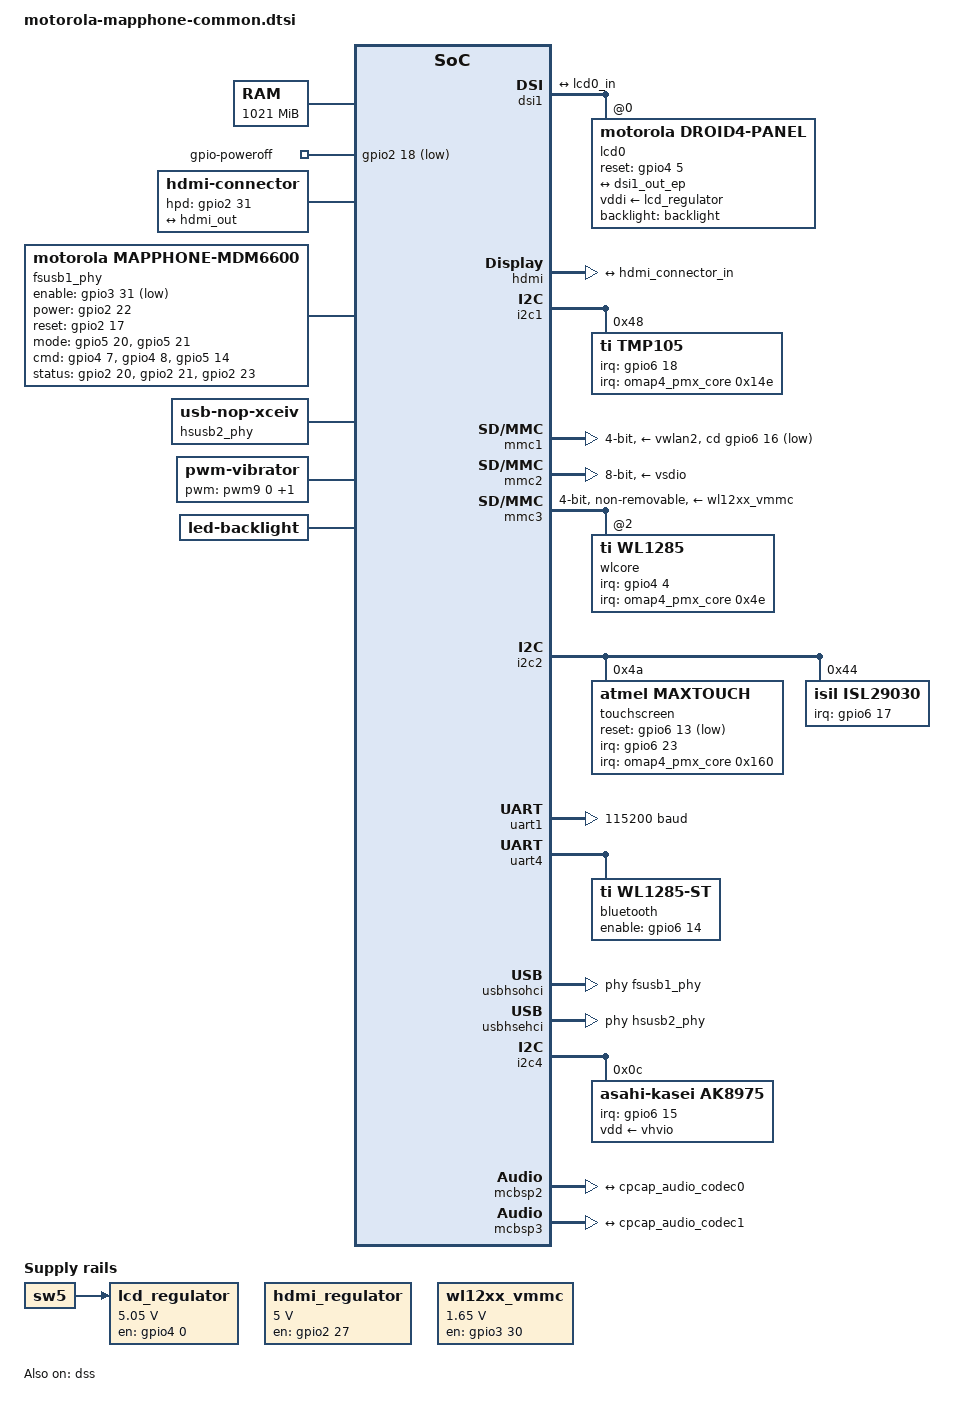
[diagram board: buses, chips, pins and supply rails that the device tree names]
// SPDX-License-Identifier: GPL-2.0-only
/dts-v1/;

#include <dt-bindings/input/input.h>
#include "omap443x.dtsi"
#include "motorola-cpcap-mapphone.dtsi"

/ {
	chosen {
		stdout-path = &uart3;
	};

	aliases {
		display0 = &lcd0;
		display1 = &hdmi0;
	};

	/*
	 * We seem to have only 1021 MB accessible, 1021 - 1022 is locked,
	 * then 1023 - 1024 seems to contain mbm.
	 */
	memory {
		device_type = "memory";
		reg = <0x80000000 0x3fd00000>;	/* 1021 MB */
	};

	/* Poweroff GPIO probably connected to CPCAP */
	gpio-poweroff {
		compatible = "gpio-poweroff";
		pinctrl-0 = <&poweroff_gpio>;
		pinctrl-names = "default";
		gpios = <&gpio2 18 GPIO_ACTIVE_LOW>;	/* gpio50 */
	};

	hdmi0: connector {
		compatible = "hdmi-connector";
		pinctrl-0 = <&hdmi_hpd_gpio>;
		pinctrl-names = "default";
		label = "hdmi";
		type = "d";

		hpd-gpios = <&gpio2 31 GPIO_ACTIVE_HIGH>;	/* gpio63 */

		port {
			hdmi_connector_in: endpoint {
				remote-endpoint = <&hdmi_out>;
			};
		};
	};

	/*
	 * HDMI 5V regulator probably sourced from battery. Let's keep
	 * keep this as always enabled for HDMI to work until we've
	 * figured what the encoder chip is.
	 */
	hdmi_regulator: regulator-hdmi {
		compatible = "regulator-fixed";
		regulator-name = "hdmi";
		regulator-min-microvolt = <5000000>;
		regulator-max-microvolt = <5000000>;
		gpio = <&gpio2 27 GPIO_ACTIVE_HIGH>;	/* gpio59 */
		enable-active-high;
		regulator-always-on;
	};

	/* FS USB Host PHY on port 1 for mdm6600 */
	fsusb1_phy: usb-phy@1 {
		compatible = "motorola,mapphone-mdm6600";
		pinctrl-0 = <&usb_mdm6600_pins>;
		pinctrl-names = "default";
		enable-gpios = <&gpio3 31 GPIO_ACTIVE_LOW>;     /* gpio_95 */
		power-gpios = <&gpio2 22 GPIO_ACTIVE_HIGH>;	/* gpio_54 */
		reset-gpios = <&gpio2 17 GPIO_ACTIVE_HIGH>;	/* gpio_49 */
		/* mode: gpio_148 gpio_149 */
		motorola,mode-gpios = <&gpio5 20 GPIO_ACTIVE_HIGH>,
				      <&gpio5 21 GPIO_ACTIVE_HIGH>;
		/* cmd: gpio_103 gpio_104 gpio_142 */
		motorola,cmd-gpios = <&gpio4 7 GPIO_ACTIVE_HIGH>,
				     <&gpio4 8 GPIO_ACTIVE_HIGH>,
				     <&gpio5 14 GPIO_ACTIVE_HIGH>;
		/* status: gpio_52 gpio_53 gpio_55 */
		motorola,status-gpios = <&gpio2 20 GPIO_ACTIVE_HIGH>,
					<&gpio2 21 GPIO_ACTIVE_HIGH>,
					<&gpio2 23 GPIO_ACTIVE_HIGH>;
		#phy-cells = <0>;
	};

	/* HS USB host TLL nop-phy on port 2 for w3glte */
	hsusb2_phy: usb-phy@2 {
		compatible = "usb-nop-xceiv";
		#phy-cells = <0>;
	};

	/* LCD regulator from sw5 source */
	lcd_regulator: regulator-lcd {
		compatible = "regulator-fixed";
		regulator-name = "lcd";
		regulator-min-microvolt = <5050000>;
		regulator-max-microvolt = <5050000>;
		gpio = <&gpio4 0 GPIO_ACTIVE_HIGH>;	/* gpio96 */
		enable-active-high;
		vin-supply = <&sw5>;
	};

	/* This is probably coming straight from the battery.. */
	wl12xx_vmmc: regulator-wl12xx {
		compatible = "regulator-fixed";
		regulator-name = "vwl1271";
		regulator-min-microvolt = <1650000>;
		regulator-max-microvolt = <1650000>;
		gpio = <&gpio3 30 GPIO_ACTIVE_HIGH>;	/* gpio94 */
		startup-delay-us = <70000>;
		enable-active-high;
	};

	soundcard {
		compatible = "audio-graph-card";
		label = "Mapphone Audio";

		widgets =
			"Speaker", "Earpiece",
			"Speaker", "Loudspeaker",
			"Headphone", "Headphone Jack",
			"Microphone", "Internal Mic";

		routing =
			"Earpiece", "EP",
			"Loudspeaker", "SPKR",
			"Headphone Jack", "HSL",
			"Headphone Jack", "HSR",
			"MICR", "Internal Mic";

		dais = <&mcbsp2_port>, <&mcbsp3_port>;
	};

	pwm8: pwm-8 {
		pinctrl-names = "default";
		pinctrl-0 = <&vibrator_direction_pin>;

		compatible = "ti,omap-dmtimer-pwm";
		#pwm-cells = <3>;
		ti,timers = <&timer8>;
		ti,clock-source = <0x01>;
	};

	pwm9: pwm-9 {
		pinctrl-names = "default";
		pinctrl-0 = <&vibrator_enable_pin>;

		compatible = "ti,omap-dmtimer-pwm";
		#pwm-cells = <3>;
		ti,timers = <&timer9>;
		ti,clock-source = <0x01>;
	};

	vibrator {
		compatible = "pwm-vibrator";
		pwms = <&pwm9 0 10000000 0>, <&pwm8 0 10000000 0>;
		pwm-names = "enable", "direction";
		direction-duty-cycle-ns = <10000000>;
	};

	backlight: backlight {
		compatible = "led-backlight";

		leds = <&backlight_led>;
		brightness-levels = <31 63 95 127 159 191 223 255>;
		default-brightness-level = <6>;
	};
};

&cpu_thermal {
	polling-delay = <10000>; /* milliseconds */
};

&cpu_alert0 {
        temperature = <80000>; /* millicelsius */
};

&cpu0 {
        /*
	 * Note that the 1.2GiHz mode is enabled for all SoC variants for
	 * the Motorola Android Linux v3.0.8 based kernel.
	 */
        operating-points = <
	        /* kHz    uV */
	        300000  1025000
	        600000  1200000
	        800000  1313000
	        1008000 1375000
		1200000 1375000
        >;
};

&dss {
	status = "okay";
};

&dsi1 {
	status = "okay";
	vdd-supply = <&vcsi>;

	port {
		dsi1_out_ep: endpoint {
			remote-endpoint = <&lcd0_in>;
			lanes = <0 1 2 3 4 5>;
		};
	};

	lcd0: panel@0 {
		compatible = "motorola,droid4-panel", "panel-dsi-cm";
		reg = <0>;
		label = "lcd0";
		vddi-supply = <&lcd_regulator>;
		reset-gpios = <&gpio4 5 GPIO_ACTIVE_HIGH>;	/* gpio101 */

		backlight = <&backlight>;

		width-mm = <50>;
		height-mm = <89>;
		rotation = <90>;

		panel-timing {
			clock-frequency = <0>;		/* Calculated by dsi */

			hback-porch = <2>;
			hactive = <540>;
			hfront-porch = <0>;
			hsync-len = <2>;

			vback-porch = <1>;
			vactive = <960>;
			vfront-porch = <0>;
			vsync-len = <1>;

			hsync-active = <0>;
			vsync-active = <0>;
			de-active = <1>;
			pixelclk-active = <1>;
		};

		port {
			lcd0_in: endpoint {
				remote-endpoint = <&dsi1_out_ep>;
			};
		};
	};
};

&hdmi {
	status = "okay";
	pinctrl-0 = <&dss_hdmi_pins>;
	pinctrl-names = "default";
	vdda-supply = <&vdac>;

	port {
		hdmi_out: endpoint {
			remote-endpoint = <&hdmi_connector_in>;
			lanes = <1 0 3 2 5 4 7 6>;
		};
	};
};

/* Battery NVRAM on 1-wire handled by w1_ds250x driver */
&hdqw1w {
	pinctrl-0 = <&hdq_pins>;
	pinctrl-names = "default";
	ti,mode = "1w";
};

&i2c1 {
	tmp105@48 {
		compatible = "ti,tmp105";
		reg = <0x48>;
		pinctrl-0 = <&tmp105_irq>;
		pinctrl-names = "default";
		/* kpd_row0.gpio_178 */
		interrupts-extended = <&gpio6 18 IRQ_TYPE_EDGE_FALLING
				       &omap4_pmx_core 0x14e>;
		interrupt-names = "irq", "wakeup";
		wakeup-source;
	};
};

&mmc1 {
	vmmc-supply = <&vwlan2>;
	bus-width = <4>;
	cd-gpios = <&gpio6 16 GPIO_ACTIVE_LOW>;	/* gpio176 */
};

&mmc2 {
	vmmc-supply = <&vsdio>;
	bus-width = <8>;
	ti,non-removable;
};

&mmc3 {
	pinctrl-names = "default";
	pinctrl-0 = <&mmc3_pins>;
	vmmc-supply = <&wl12xx_vmmc>;
	/* uart2_tx.sdmmc3_dat1 pad as wakeirq */
	interrupts-extended = <&wakeupgen GIC_SPI 94 IRQ_TYPE_LEVEL_HIGH
			       &omap4_pmx_core 0xde>;
	interrupt-names = "irq", "wakeup";
	non-removable;
	bus-width = <4>;
	cap-power-off-card;
	keep-power-in-suspend;

	#address-cells = <1>;
	#size-cells = <0>;
	wlcore: wlcore@2 {
		compatible = "ti,wl1285";
		reg = <2>;
		/* gpio_100 with gpmc_wait2 pad as wakeirq */
		interrupts-extended = <&gpio4 4 IRQ_TYPE_LEVEL_HIGH>,
				      <&omap4_pmx_core 0x4e>;
		interrupt-names = "irq", "wakeup";
		ref-clock-frequency = <26000000>;
		tcxo-clock-frequency = <26000000>;
	};
};

&i2c2 {
	touchscreen@4a {
		compatible = "atmel,maxtouch";
		reg = <0x4a>;
		pinctrl-names = "default";
		pinctrl-0 = <&touchscreen_pins>;

		reset-gpios = <&gpio6 13 GPIO_ACTIVE_LOW>; /* gpio173 */

		/* gpio_183 with sys_nirq2 pad as wakeup */
		interrupts-extended = <&gpio6 23 IRQ_TYPE_LEVEL_LOW>,
				      <&omap4_pmx_core 0x160>;
		interrupt-names = "irq", "wakeup";
		wakeup-source;
	};

	isl29030@44 {
		compatible = "isil,isl29030";
		reg = <0x44>;

		pinctrl-names = "default";
		pinctrl-0 = <&als_proximity_pins>;

		interrupt-parent = <&gpio6>;
		interrupts = <17 IRQ_TYPE_LEVEL_LOW>; /* gpio177 */
	};
};

&omap4_pmx_core {

	/* hdmi_hpd.gpio_63 */
	hdmi_hpd_gpio: hdmi-hpd-pins {
		pinctrl-single,pins = <
		OMAP4_IOPAD(0x098, PIN_INPUT | MUX_MODE3)
		>;
	};

	hdq_pins: hdq-pins {
		pinctrl-single,pins = <
		/* 0x4a100120 hdq_sio.hdq_sio aa27 */
		OMAP4_IOPAD(0x120, PIN_INPUT | MUX_MODE0)
		>;
	};

	/* hdmi_cec.hdmi_cec, hdmi_scl.hdmi_scl, hdmi_sda.hdmi_sda */
	dss_hdmi_pins: dss-hdmi-pins {
		pinctrl-single,pins = <
		OMAP4_IOPAD(0x09a, PIN_INPUT | MUX_MODE0)
		OMAP4_IOPAD(0x09c, PIN_INPUT | MUX_MODE0)
		OMAP4_IOPAD(0x09e, PIN_INPUT | MUX_MODE0)
		>;
	};

	/*
	 * Android uses PIN_OFF_INPUT_PULLDOWN | PIN_INPUT_PULLUP | MUX_MODE3
	 * for gpio_100, but the internal pull makes wlan flakey on some
	 * devices. Off mode value should be tested if we have off mode working
	 * later on.
	 */
	mmc3_pins: mmc3-pins {
		pinctrl-single,pins = <
		/* 0x4a10008e gpmc_wait2.gpio_100 d23 */
		OMAP4_IOPAD(0x08e, PIN_INPUT | MUX_MODE3)

		/* 0x4a100102 abe_mcbsp1_dx.sdmmc3_dat2 ab25 */
		OMAP4_IOPAD(0x102, PIN_INPUT_PULLUP | MUX_MODE1)

		/* 0x4a100104 abe_mcbsp1_fsx.sdmmc3_dat3 ac27 */
		OMAP4_IOPAD(0x104, PIN_INPUT_PULLUP | MUX_MODE1)

		/* 0x4a100118 uart2_cts.sdmmc3_clk ab26 */
		OMAP4_IOPAD(0x118, PIN_INPUT | MUX_MODE1)

		/* 0x4a10011a uart2_rts.sdmmc3_cmd ab27 */
		OMAP4_IOPAD(0x11a, PIN_INPUT_PULLUP | MUX_MODE1)

		/* 0x4a10011c uart2_rx.sdmmc3_dat0 aa25 */
		OMAP4_IOPAD(0x11c, PIN_INPUT_PULLUP | MUX_MODE1)

		/* 0x4a10011e uart2_tx.sdmmc3_dat1 aa26 */
		OMAP4_IOPAD(0x11e, PIN_INPUT_PULLUP | MUX_MODE1)
		>;
	};

	/* gpmc_ncs0.gpio_50 */
	poweroff_gpio: poweroff-pins {
		pinctrl-single,pins = <
		OMAP4_IOPAD(0x074, PIN_OUTPUT_PULLUP | MUX_MODE3)
		>;
	};

	/* kpd_row0.gpio_178 */
	tmp105_irq: tmp105-irq-pins {
		pinctrl-single,pins = <
		OMAP4_IOPAD(0x18e, PIN_INPUT_PULLUP | MUX_MODE3)
		>;
	};

	usb_gpio_mux_sel1: usb-gpio-mux-sel1-pins {
		/* gpio_60 */
		pinctrl-single,pins = <
		OMAP4_IOPAD(0x088, PIN_OUTPUT | MUX_MODE3)
		>;
	};

	touchscreen_pins: touchscreen-pins {
		pinctrl-single,pins = <
		OMAP4_IOPAD(0x180, PIN_OUTPUT | MUX_MODE3)
		OMAP4_IOPAD(0x1a0, PIN_INPUT_PULLUP | MUX_MODE3)
		>;
	};

	als_proximity_pins: als-proximity-pins {
		pinctrl-single,pins = <
		OMAP4_IOPAD(0x18c, PIN_INPUT_PULLUP | MUX_MODE3)
		>;
	};

	usb_mdm6600_pins: usb-mdm6600-pins {
		pinctrl-single,pins = <
		/* enable 0x4a1000d8 usbb1_ulpitll_dat7.gpio_95 ag16 */
		OMAP4_IOPAD(0x0d8, PIN_INPUT | MUX_MODE3)

		/* power 0x4a10007c gpmc_nwp.gpio_54 c25 */
		OMAP4_IOPAD(0x07c, PIN_OUTPUT | MUX_MODE3)

		/* reset 0x4a100072 gpmc_a25.gpio_49 d20 */
		OMAP4_IOPAD(0x072, PIN_OUTPUT | MUX_MODE3)

		/* mode0/bpwake 0x4a10014e sdmmc5_dat1.gpio_148 af4 */
		OMAP4_IOPAD(0x14e, PIN_OUTPUT | MUX_MODE3)

		/* mode1/apwake 0x4a100150 sdmmc5_dat2.gpio_149 ag3 */
		OMAP4_IOPAD(0x150, PIN_OFF_OUTPUT_LOW | PIN_INPUT | MUX_MODE3)

		/* status0 0x4a10007e gpmc_clk.gpio_55 b22 */
		OMAP4_IOPAD(0x07e, PIN_INPUT | MUX_MODE3)

		/* status1 0x4a10007a gpmc_ncs3.gpio_53 c22 */
		OMAP4_IOPAD(0x07a, PIN_INPUT | MUX_MODE3)

		/* status2 0x4a100078 gpmc_ncs2.gpio_52 d21 */
		OMAP4_IOPAD(0x078, PIN_INPUT | MUX_MODE3)

		/* cmd0 0x4a100094 gpmc_ncs6.gpio_103 c24 */
		OMAP4_IOPAD(0x094, PIN_OUTPUT | MUX_MODE3)

		/* cmd1 0x4a100096 gpmc_ncs7.gpio_104 d24 */
		OMAP4_IOPAD(0x096, PIN_OUTPUT | MUX_MODE3)

		/* cmd2 0x4a100142 uart3_rts_sd.gpio_142 f28 */
		OMAP4_IOPAD(0x142, PIN_OUTPUT | MUX_MODE3)
		>;
	};

	usb_ulpi_pins: usb-ulpi-pins {
		pinctrl-single,pins = <
		OMAP4_IOPAD(0x196, MUX_MODE7)
		OMAP4_IOPAD(0x198, MUX_MODE7)
		OMAP4_IOPAD(0x1b2, PIN_INPUT_PULLUP | MUX_MODE0)
		OMAP4_IOPAD(0x1b4, PIN_INPUT_PULLUP | MUX_MODE0)
		OMAP4_IOPAD(0x1b6, PIN_INPUT_PULLUP | MUX_MODE0)
		OMAP4_IOPAD(0x1b8, PIN_INPUT_PULLUP | MUX_MODE0)
		OMAP4_IOPAD(0x1ba, PIN_INPUT_PULLUP | MUX_MODE0)
		OMAP4_IOPAD(0x1bc, PIN_INPUT_PULLUP | MUX_MODE0)
		OMAP4_IOPAD(0x1be, PIN_INPUT_PULLUP | MUX_MODE0)
		OMAP4_IOPAD(0x1c0, PIN_INPUT_PULLUP | MUX_MODE0)
		OMAP4_IOPAD(0x1c2, PIN_INPUT_PULLUP | MUX_MODE0)
		OMAP4_IOPAD(0x1c4, PIN_INPUT_PULLUP | MUX_MODE0)
		OMAP4_IOPAD(0x1c6, PIN_INPUT_PULLUP | MUX_MODE0)
		OMAP4_IOPAD(0x1c8, PIN_INPUT_PULLUP | MUX_MODE0)
		>;
	};

	/* usb0_otg_dp and usb0_otg_dm */
	usb_utmi_pins: usb-utmi-pins {
		pinctrl-single,pins = <
		OMAP4_IOPAD(0x196, PIN_INPUT | MUX_MODE0)
		OMAP4_IOPAD(0x198, PIN_INPUT | MUX_MODE0)
		OMAP4_IOPAD(0x1b2, PIN_INPUT_PULLUP | MUX_MODE7)
		OMAP4_IOPAD(0x1b4, PIN_INPUT_PULLUP | MUX_MODE7)
		OMAP4_IOPAD(0x1b6, PIN_INPUT_PULLUP | MUX_MODE7)
		OMAP4_IOPAD(0x1b8, PIN_INPUT_PULLUP | MUX_MODE7)
		OMAP4_IOPAD(0x1ba, PIN_INPUT_PULLUP | MUX_MODE7)
		OMAP4_IOPAD(0x1bc, PIN_INPUT_PULLUP | MUX_MODE7)
		OMAP4_IOPAD(0x1be, PIN_INPUT_PULLUP | MUX_MODE7)
		OMAP4_IOPAD(0x1c0, PIN_INPUT_PULLUP | MUX_MODE7)
		OMAP4_IOPAD(0x1c2, PIN_INPUT_PULLUP | MUX_MODE7)
		OMAP4_IOPAD(0x1c4, PIN_INPUT_PULLUP | MUX_MODE7)
		OMAP4_IOPAD(0x1c6, PIN_INPUT_PULLUP | MUX_MODE7)
		OMAP4_IOPAD(0x1c8, PIN_INPUT_PULLUP | MUX_MODE7)
		>;
	};

	/*
	 * Note that the v3.0.8 stock userspace dynamically remuxes uart1
	 * rts pin probably for PM purposes to PIN_INPUT_PULLUP | MUX_MODE7
	 * when not used. If needed, we can add rts pin remux later based
	 * on power measurements.
	 */
	uart1_pins: uart1-pins {
		pinctrl-single,pins = <
		/* 0x4a10013c mcspi1_cs2.uart1_cts ag23 */
		OMAP4_IOPAD(0x13c, PIN_INPUT_PULLUP | MUX_MODE1)

		/* 0x4a10013e mcspi1_cs3.uart1_rts ah23 */
		OMAP4_IOPAD(0x13e, MUX_MODE1)

		/* 0x4a100140 uart3_cts_rctx.uart1_tx f27 */
		OMAP4_IOPAD(0x140, PIN_OUTPUT | MUX_MODE1)

		/* 0x4a1001ca dpm_emu14.uart1_rx aa3 */
		OMAP4_IOPAD(0x1ca, PIN_INPUT_PULLUP | MUX_MODE2)
		>;
	};

	/* uart3_tx_irtx and uart3_rx_irrx */
	uart3_pins: uart3-pins {
		pinctrl-single,pins = <
		OMAP4_IOPAD(0x196, MUX_MODE7)
		OMAP4_IOPAD(0x198, MUX_MODE7)
		OMAP4_IOPAD(0x1b2, PIN_INPUT_PULLUP | MUX_MODE7)
		OMAP4_IOPAD(0x1b4, PIN_INPUT_PULLUP | MUX_MODE7)
		OMAP4_IOPAD(0x1b6, PIN_INPUT_PULLUP | MUX_MODE7)
		OMAP4_IOPAD(0x1b8, PIN_INPUT_PULLUP | MUX_MODE7)
		OMAP4_IOPAD(0x1ba, MUX_MODE2)
		OMAP4_IOPAD(0x1bc, PIN_INPUT | MUX_MODE2)
		OMAP4_IOPAD(0x1be, PIN_INPUT_PULLUP | MUX_MODE7)
		OMAP4_IOPAD(0x1c0, PIN_INPUT_PULLUP | MUX_MODE7)
		OMAP4_IOPAD(0x1c2, PIN_INPUT_PULLUP | MUX_MODE7)
		OMAP4_IOPAD(0x1c4, PIN_INPUT_PULLUP | MUX_MODE7)
		OMAP4_IOPAD(0x1c6, PIN_INPUT_PULLUP | MUX_MODE7)
		OMAP4_IOPAD(0x1c8, PIN_INPUT_PULLUP | MUX_MODE7)
		>;
	};

	uart4_pins: uart4-pins {
		pinctrl-single,pins = <
		OMAP4_IOPAD(0x15c, PIN_INPUT | MUX_MODE0)		/* uart4_rx */
		OMAP4_IOPAD(0x15e, PIN_OUTPUT | MUX_MODE0)		/* uart4_tx */
		OMAP4_IOPAD(0x110, PIN_INPUT_PULLUP | MUX_MODE5)	/* uart4_cts */
		OMAP4_IOPAD(0x112, PIN_OUTPUT_PULLUP | MUX_MODE5)	/* uart4_rts */
		>;
	};

	mcbsp2_pins: mcbsp2-pins {
		pinctrl-single,pins = <
		OMAP4_IOPAD(0x0f6, PIN_INPUT | MUX_MODE0)	/* abe_mcbsp2_clkx */
		OMAP4_IOPAD(0x0f8, PIN_INPUT | MUX_MODE0)	/* abe_mcbsp2_dr */
		OMAP4_IOPAD(0x0fa, PIN_OUTPUT | MUX_MODE0)	/* abe_mcbsp2_dx */
		OMAP4_IOPAD(0x0fc, PIN_INPUT | MUX_MODE0)	/* abe_mcbsp2_fsx */
		>;
	};

	mcbsp3_pins: mcbsp3-pins {
		pinctrl-single,pins = <
		OMAP4_IOPAD(0x106, PIN_INPUT | MUX_MODE1)	/* abe_mcbsp3_dr */
		OMAP4_IOPAD(0x108, PIN_OUTPUT | MUX_MODE1)	/* abe_mcbsp3_dx */
		OMAP4_IOPAD(0x10a, PIN_INPUT | MUX_MODE1)	/* abe_mcbsp3_clkx */
		OMAP4_IOPAD(0x10c, PIN_INPUT | MUX_MODE1)	/* abe_mcbsp3_fsx */
		>;
	};

	vibrator_direction_pin: vibrator-direction-pins {
		pinctrl-single,pins = <
		OMAP4_IOPAD(0x1ce, PIN_OUTPUT | MUX_MODE1)	/* dmtimer8_pwm_evt (gpio_27) */
		>;
	};

	vibrator_enable_pin: vibrator-enable-pins {
		pinctrl-single,pins = <
		OMAP4_IOPAD(0X1d0, PIN_OUTPUT | MUX_MODE1)	/* dmtimer9_pwm_evt (gpio_28) */
		>;
	};
};

&omap4_pmx_wkup {
	usb_gpio_mux_sel2: usb-gpio-mux-sel2-pins {
		/* gpio_wk0 */
		pinctrl-single,pins = <
		OMAP4_IOPAD(0x040, PIN_OUTPUT_PULLDOWN | MUX_MODE3)
		>;
	};
};

/* RNG is used by secure mode and not accessible */
&rng_target {
	status = "disabled";
};

/* Configure pwm clock source for timers 8 & 9 */
&timer8 {
	assigned-clocks = <&abe_clkctrl OMAP4_TIMER8_CLKCTRL 24>;
	assigned-clock-parents = <&sys_clkin_ck>;
};

&timer9 {
	assigned-clocks = <&l4_per_clkctrl OMAP4_TIMER9_CLKCTRL 24>;
	assigned-clock-parents = <&sys_clkin_ck>;
};

/*
 * The uart1 port is wired to mdm6600 with rts and cts. The modem uses gpio_149
 * for wake-up events for both the USB PHY and the UART. We can use gpio_149
 * pad as the shared wakeirq for the UART rather than the RX or CTS pad as we
 * have gpio_149 trigger before the UART transfer starts.
 */
&uart1 {
	pinctrl-names = "default";
	pinctrl-0 = <&uart1_pins>;
	interrupts-extended = <&wakeupgen GIC_SPI 72 IRQ_TYPE_LEVEL_HIGH
			       &omap4_pmx_core 0x110>;
	uart-has-rtscts;
	current-speed = <115200>;
};

&uart3 {
	interrupts-extended = <&wakeupgen GIC_SPI 74 IRQ_TYPE_LEVEL_HIGH
			       &omap4_pmx_core 0x17c>;
};

&uart4 {
	pinctrl-names = "default";
	pinctrl-0 = <&uart4_pins>;

	bluetooth {
		compatible = "ti,wl1285-st";
		enable-gpios = <&gpio6 14 GPIO_ACTIVE_HIGH>; /* gpio 174 */
		max-speed = <3686400>;
	};
};

&usbhsohci {
	phys = <&fsusb1_phy>;
	phy-names = "usb";
};

&usbhsehci {
	phys = <&hsusb2_phy>;
};

&usbhshost {
	port1-mode = "ohci-phy-4pin-dpdm";
	port2-mode = "ehci-tll";
};

/* Internal UTMI+ PHY used for OTG, CPCAP ULPI PHY for detection and charger */
&usb_otg_hs {
	interface-type = <1>;
	mode = <3>;

	/*
	 * Max 300 mA steps based on similar PMIC MC13783UG.pdf "Table 10-4.
	 * VBUS Regulator Main Characteristics". Binding uses 2 mA units.
	 */
	power = <150>;
};

&i2c4 {
	ak8975: magnetometer@c {
		compatible = "asahi-kasei,ak8975";
		reg = <0x0c>;

		vdd-supply = <&vhvio>;

		interrupt-parent = <&gpio6>;
		interrupts = <15 IRQ_TYPE_EDGE_RISING>; /* gpio175 */

		rotation-matrix = "-1", "0", "0",
				  "0", "1", "0",
				  "0", "0", "-1";

	};
};

&mcbsp2 {
	#sound-dai-cells = <0>;
	pinctrl-names = "default";
	pinctrl-0 = <&mcbsp2_pins>;
	status = "okay";

	mcbsp2_port: port {
		cpu_dai2: endpoint {
			dai-format = "i2s";
			remote-endpoint = <&cpcap_audio_codec0>;
			frame-master = <&cpcap_audio_codec0>;
			bitclock-master = <&cpcap_audio_codec0>;
		};
	};
};

&mcbsp3 {
	#sound-dai-cells = <0>;
	pinctrl-names = "default";
	pinctrl-0 = <&mcbsp3_pins>;
	status = "okay";

	mcbsp3_port: port {
		cpu_dai3: endpoint {
			dai-format = "dsp_a";
			frame-master = <&cpcap_audio_codec1>;
			bitclock-master = <&cpcap_audio_codec1>;
			remote-endpoint = <&cpcap_audio_codec1>;
		};
	};
};

&cpcap_audio_codec0 {
	remote-endpoint = <&cpu_dai2>;
};

&cpcap_audio_codec1 {
	remote-endpoint = <&cpu_dai3>;
};
